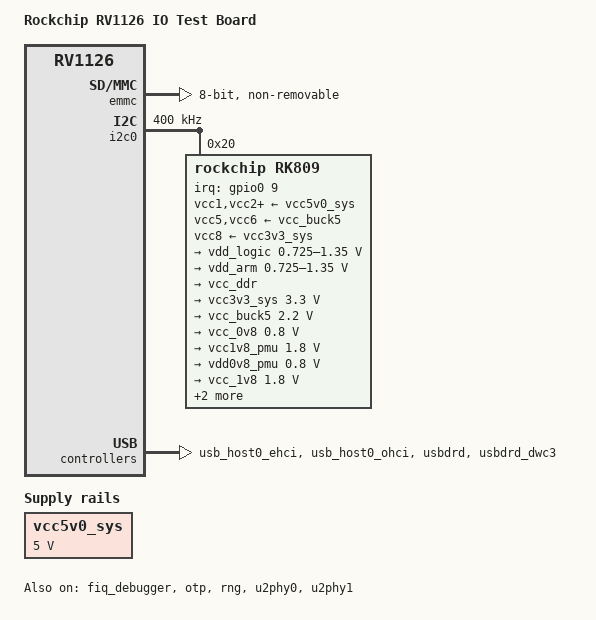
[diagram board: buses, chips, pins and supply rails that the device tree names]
// SPDX-License-Identifier: (GPL-2.0+ OR MIT)
/*
 * Copyright (c) 2020 Fuzhou Rockchip Electronics Co., Ltd.
 */

/dts-v1/;

#include "rv1126.dtsi"

/ {
	model = "Rockchip RV1126 IO Test Board";
	compatible = "rockchip,rv1126-iotest", "rockchip,rv1126";

	chosen {
		bootargs = "earlycon=uart8250,mmio32,0xff570000 console=ttyFIQ0 root=PARTUUID=614e0000-0000 rootfstype=ext4 rootwait snd_aloop.index=7";
	};

	vcc5v0_sys: vccsys {
		compatible = "regulator-fixed";
		regulator-name = "vcc5v0_sys";
		regulator-always-on;
		regulator-boot-on;
		regulator-min-microvolt = <5000000>;
		regulator-max-microvolt = <5000000>;
	};
};

&cpu0 {
	cpu-supply = <&vdd_arm>;
};

&cpu_tsadc {
	rockchip,hw-tshut-mode = <0>; /* tshut mode 0:CRU 1:GPIO */
	rockchip,hw-tshut-polarity = <0>; /* tshut polarity 0:LOW 1:HIGH */
	pinctrl-names = "gpio", "otpout";
	pinctrl-0 = <&tsadcm0_shut>;
	pinctrl-1 = <&tsadc_shutorg>;
	status = "okay";
};

&emmc {
	bus-width = <8>;
	cap-mmc-highspeed;
	non-removable;
	mmc-hs200-1_8v;
	rockchip,default-sample-phase = <90>;
	supports-emmc;
	status = "okay";
};

&fiq_debugger {
	status = "okay";
};

&i2c0 {
	status = "okay";
	clock-frequency = <400000>;

	rk809: pmic@20 {
		compatible = "rockchip,rk809";
		reg = <0x20>;
		interrupt-parent = <&gpio0>;
		interrupts = <9 IRQ_TYPE_LEVEL_LOW>;
		pinctrl-names = "default", "pmic-sleep",
			"pmic-power-off", "pmic-reset";
		pinctrl-0 = <&pmic_int>;
		pinctrl-1 = <&soc_slppin_gpio>, <&rk817_slppin_slp>;
		pinctrl-2 = <&soc_slppin_gpio>, <&rk817_slppin_pwrdn>;
		pinctrl-3 = <&soc_slppin_slp>, <&rk817_slppin_rst>;
		rockchip,system-power-controller;
		wakeup-source;
		#clock-cells = <1>;
		clock-output-names = "rk808-clkout1", "rk808-clkout2";
		/* 0: rst the pmic, 1: rst regs (default in codes) */
		pmic-reset-func = <0>;

		vcc1-supply = <&vcc5v0_sys>;
		vcc2-supply = <&vcc5v0_sys>;
		vcc3-supply = <&vcc5v0_sys>;
		vcc4-supply = <&vcc5v0_sys>;
		vcc5-supply = <&vcc_buck5>;
		vcc6-supply = <&vcc_buck5>;
		vcc7-supply = <&vcc5v0_sys>;
		vcc8-supply = <&vcc3v3_sys>;
		vcc9-supply = <&vcc5v0_sys>;

		pwrkey {
			status = "okay";
		};

		pinctrl_rk8xx: pinctrl_rk8xx {
			gpio-controller;
			#gpio-cells = <2>;

			/omit-if-no-ref/
			rk817_slppin_null: rk817_slppin_null {
				pins = "gpio_slp";
				function = "pin_fun0";
			};

			/omit-if-no-ref/
			rk817_slppin_slp: rk817_slppin_slp {
				pins = "gpio_slp";
				function = "pin_fun1";
			};

			/omit-if-no-ref/
			rk817_slppin_pwrdn: rk817_slppin_pwrdn {
				pins = "gpio_slp";
				function = "pin_fun2";
			};

			/omit-if-no-ref/
			rk817_slppin_rst: rk817_slppin_rst {
				pins = "gpio_slp";
				function = "pin_fun3";
			};
		};

		regulators {
			vdd_logic: DCDC_REG1 {
				regulator-always-on;
				regulator-boot-on;
				regulator-min-microvolt = <725000>;
				regulator-max-microvolt = <1350000>;
				regulator-ramp-delay = <6001>;
				regulator-initial-mode = <0x2>;
				regulator-name = "vdd_logic";
				regulator-state-mem {
					regulator-on-in-suspend;
					regulator-suspend-microvolt = <800000>;
				};
			};

			vdd_arm: DCDC_REG2 {
				regulator-always-on;
				regulator-boot-on;
				regulator-min-microvolt = <725000>;
				regulator-max-microvolt = <1350000>;
				regulator-ramp-delay = <6001>;
				regulator-initial-mode = <0x2>;
				regulator-name = "vdd_arm";
				regulator-state-mem {
					regulator-off-in-suspend;
				};
			};

			vcc_ddr: DCDC_REG3 {
				regulator-always-on;
				regulator-boot-on;
				regulator-initial-mode = <0x2>;
				regulator-name = "vcc_ddr";
				regulator-state-mem {
					regulator-on-in-suspend;
				};
			};

			vcc3v3_sys: DCDC_REG4 {
				regulator-always-on;
				regulator-boot-on;
				regulator-min-microvolt = <3300000>;
				regulator-max-microvolt = <3300000>;
				regulator-initial-mode = <0x2>;
				regulator-name = "vcc3v3_sys";
				regulator-state-mem {
					regulator-on-in-suspend;
					regulator-suspend-microvolt = <3300000>;
				};
			};

			vcc_buck5: DCDC_REG5 {
				regulator-always-on;
				regulator-boot-on;
				regulator-min-microvolt = <2200000>;
				regulator-max-microvolt = <2200000>;
				regulator-name = "vcc_buck5";
				regulator-state-mem {
					regulator-on-in-suspend;
					regulator-suspend-microvolt = <2200000>;
				};
			};

			vcc_0v8: LDO_REG1 {
				regulator-always-on;
				regulator-boot-on;
				regulator-min-microvolt = <800000>;
				regulator-max-microvolt = <800000>;
				regulator-name = "vcc_0v8";
				regulator-state-mem {
					regulator-off-in-suspend;
				};
			};

			vcc1v8_pmu: LDO_REG2 {
				regulator-always-on;
				regulator-boot-on;
				regulator-min-microvolt = <1800000>;
				regulator-max-microvolt = <1800000>;
				regulator-name = "vcc1v8_pmu";
				regulator-state-mem {
					regulator-on-in-suspend;
					regulator-suspend-microvolt = <1800000>;
				};
			};

			vdd0v8_pmu: LDO_REG3 {
				regulator-always-on;
				regulator-boot-on;
				regulator-min-microvolt = <800000>;
				regulator-max-microvolt = <800000>;
				regulator-name = "vcc0v8_pmu";
				regulator-state-mem {
					regulator-on-in-suspend;
					regulator-suspend-microvolt = <800000>;
				};
			};

			vcc_1v8: LDO_REG4 {
				regulator-always-on;
				regulator-boot-on;
				regulator-min-microvolt = <1800000>;
				regulator-max-microvolt = <1800000>;
				regulator-name = "vcc_1v8";
				regulator-state-mem {
					regulator-on-in-suspend;
					regulator-suspend-microvolt = <1800000>;
				};
			};

			vcc_dovdd: LDO_REG5 {
				regulator-boot-on;
				regulator-min-microvolt = <1800000>;
				regulator-max-microvolt = <1800000>;
				regulator-name = "vcc_dovdd";
				regulator-state-mem {
					regulator-off-in-suspend;
				};
			};

			vcc_dvdd: LDO_REG6 {
				regulator-min-microvolt = <1200000>;
				regulator-max-microvolt = <1200000>;
				regulator-name = "vcc_dvdd";
				regulator-state-mem {
					regulator-off-in-suspend;
				};
			};

			vcc_avdd: LDO_REG7 {
				regulator-min-microvolt = <2800000>;
				regulator-max-microvolt = <2800000>;
				regulator-name = "vcc_avdd";
				regulator-state-mem {
					regulator-off-in-suspend;
				};
			};

			vccio_sd: LDO_REG8 {
				regulator-always-on;
				regulator-boot-on;
				regulator-min-microvolt = <1800000>;
				regulator-max-microvolt = <3300000>;
				regulator-name = "vccio_sd";
				regulator-state-mem {
					regulator-off-in-suspend;
				};
			};

			vcc3v3_sd: LDO_REG9 {
				regulator-always-on;
				regulator-boot-on;
				regulator-min-microvolt = <3300000>;
				regulator-max-microvolt = <3300000>;
				regulator-name = "vcc3v3_sd";
				regulator-state-mem {
					regulator-off-in-suspend;
				};
			};

			vcc5v0_host: SWITCH_REG1 {
				regulator-name = "vcc5v0_host";
			};

			vcc_3v3: SWITCH_REG2 {
				regulator-always-on;
				regulator-boot-on;
				regulator-name = "vcc_3v3";
			};
		};
	};
};

&optee {
	status = "disabled";
};

&otp {
	status = "okay";
};

&pinctrl {
	pmic {
		/omit-if-no-ref/
		pmic_int: pmic_int {
			rockchip,pins =
				<0 RK_PB1 RK_FUNC_GPIO &pcfg_pull_up>;
		};

		/omit-if-no-ref/
		soc_slppin_gpio: soc_slppin_gpio {
			rockchip,pins =
				<0 RK_PB2 RK_FUNC_GPIO &pcfg_output_low>;
		};

		/omit-if-no-ref/
		soc_slppin_slp: soc_slppin_slp {
			rockchip,pins =
				<0 RK_PB2 1 &pcfg_pull_none>;
		};

		/omit-if-no-ref/
		soc_slppin_rst: soc_slppin_rst {
			rockchip,pins =
				<0 RK_PB2 2 &pcfg_pull_none>;
		};
	};
};

&pmu_io_domains {
	status = "okay";

	pmuio0-supply = <&vcc1v8_pmu>;
	pmuio1-supply = <&vcc3v3_sys>;
	vccio2-supply = <&vcc_3v3>;
	vccio3-supply = <&vcc_3v3>;
	vccio4-supply = <&vcc_3v3>;
	vccio5-supply = <&vcc_3v3>;
	vccio6-supply = <&vcc_3v3>;
	vccio7-supply = <&vcc_3v3>;
};

&rng {
	status = "okay";
};

&u2phy0 {
	status = "okay";
	u2phy_otg: otg-port {
		status = "okay";
	};
};

&u2phy1 {
	status = "okay";

	u2phy_host: host-port {
		status = "okay";
		phy-supply = <&vcc5v0_host>;
	};
};

&usb_host0_ehci {
	status = "okay";
};

&usb_host0_ohci {
	status = "okay";
};

&usbdrd {
	status = "okay";
};

&usbdrd_dwc3 {
	status = "okay";
	extcon = <&u2phy0>;
};
